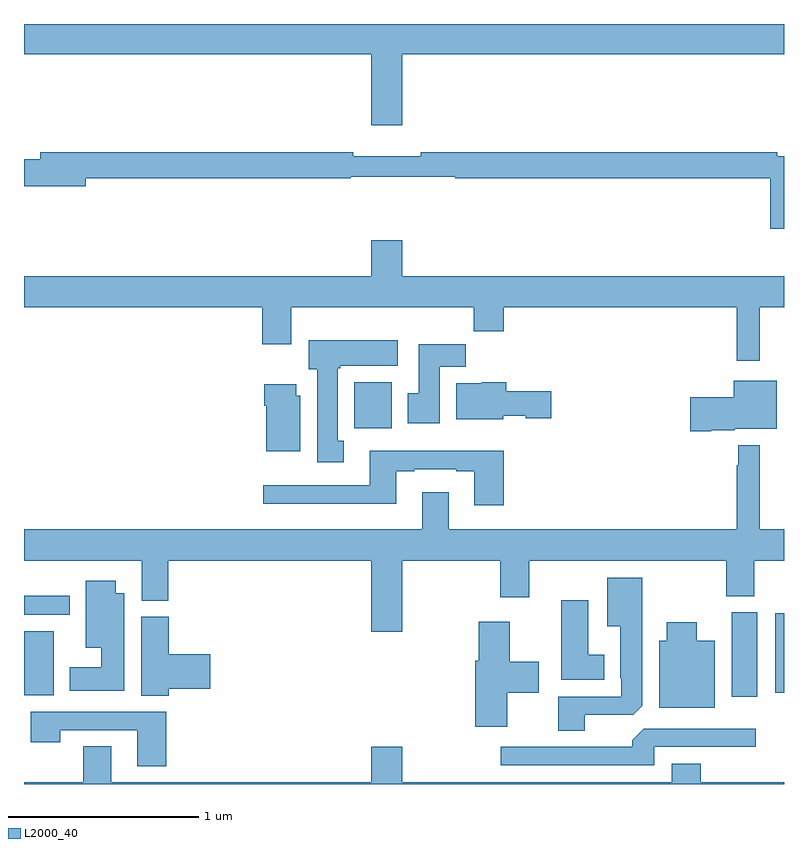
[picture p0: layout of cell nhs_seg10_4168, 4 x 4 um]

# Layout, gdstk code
import gdstk
lib = gdstk.Library(unit=1e-6, precision=1e-09)
def R(c, l, rs):  # rectangles x0, y0, x1, y1
    for r in rs: c.add(gdstk.rectangle(r[:2], r[2:], *l))
def P(c, l, *ps):  # polygons
    for p in ps: c.add(gdstk.Polygon(p, *l))
L2000_40 = (2000, 40)

nhs_seg10_4168 = lib.new_cell('nhs_seg10_4168')
R(nhs_seg10_4168, L2000_40, [(346.724,1272.96,346.858,1273.404), (343,1272.968,343.156,1273.303), (346.955,1272.98,347,1273.399), (343,1273.392,343.24,1273.49), (344.738,1274.372,344.935,1274.614)])
P(nhs_seg10_4168, L2000_40, [(344.992,1276.34),(347,1276.34),(347,1276.5),(343,1276.5),(343,1276.34),(344.828,1276.34),(344.828,1275.966),(344.992,1275.966)],
  [(347,1275.804),(346.964,1275.804),(346.964,1275.824),(345.088,1275.824),(345.088,1275.805),(344.732,1275.805),(344.732,1275.824),(343.085,1275.824),(343.085,1275.788),(343,1275.788),(343,1275.646),(343.324,1275.646),(343.324,1275.688),(344.72,1275.688),(344.72,1275.696),(345.269,1275.696),(345.269,1275.688),(346.928,1275.688),(346.928,1275.423),(347,1275.423)],
  [(346.873,1275.008),(347,1275.008),(347,1275.172),(344.992,1275.172),(344.992,1275.361),(344.828,1275.361),(344.828,1275.172),(343,1275.172),(343,1275.008),(344.255,1275.008),(344.255,1274.814),(344.407,1274.814),(344.407,1275.008),(345.367,1275.008),(345.367,1274.884),(345.524,1274.884),(345.524,1275.008),(346.752,1275.008),(346.752,1274.727),(346.873,1274.727)],
  [(344.683,1274.306),(344.65,1274.306),(344.65,1274.689),(344.664,1274.689),(344.664,1274.702),(344.968,1274.702),(344.968,1274.836),(344.498,1274.836),(344.498,1274.682),(344.543,1274.682),(344.543,1274.193),(344.683,1274.193)],
  [(345.187,1274.696),(345.326,1274.696),(345.326,1274.815),(345.077,1274.815),(345.077,1274.556),(345.02,1274.556),(345.02,1274.4),(345.187,1274.4)],
  [(346.618,1274.363),(346.74,1274.363),(346.74,1274.369),(346.963,1274.369),(346.963,1274.623),(346.736,1274.623),(346.736,1274.535),(346.506,1274.535),(346.506,1274.357),(346.618,1274.357)],
  [(345.522,1274.438),(345.642,1274.438),(345.642,1274.426),(345.775,1274.426),(345.775,1274.568),(345.539,1274.568),(345.539,1274.614),(345.408,1274.614),(345.408,1274.608),(345.275,1274.608),(345.275,1274.42),(345.522,1274.42)],
  [(344.455,1274.544),(344.434,1274.544),(344.434,1274.605),(344.264,1274.605),(344.264,1274.492),(344.276,1274.492),(344.276,1274.252),(344.455,1274.252)],
  [(344.992,1273.676),(345.506,1273.676),(345.506,1273.482),(345.658,1273.482),(345.658,1273.676),(346.696,1273.676),(346.696,1273.489),(346.843,1273.489),(346.843,1273.676),(347,1273.676),(347,1273.84),(346.873,1273.84),(346.873,1274.284),(346.759,1274.284),(346.759,1274.177),(346.752,1274.177),(346.752,1273.84),(345.235,1273.84),(345.235,1274.035),(345.095,1274.035),(345.095,1273.84),(343,1273.84),(343,1273.676),(343.619,1273.676),(343.619,1273.465),(343.76,1273.465),(343.76,1273.676),(344.828,1273.676),(344.828,1273.302),(344.992,1273.302)],
  [(345.524,1274.254),(344.819,1274.254),(344.819,1274.073),(344.259,1274.073),(344.259,1273.976),(344.959,1273.976),(344.959,1274.145),(345.055,1274.145),(345.055,1274.157),(345.275,1274.157),(345.275,1274.145),(345.371,1274.145),(345.371,1273.968),(345.524,1273.968)],
  [(345.952,1272.864),(346.206,1272.864),(346.255,1272.913),(346.255,1273.585),(346.07,1273.585),(346.07,1273.331),(346.139,1273.331),(346.139,1273.057),(346.143,1273.057),(346.143,1272.96),(345.812,1272.96),(345.812,1272.781),(345.952,1272.781)],
  [(343.528,1273.504),(343.483,1273.504),(343.483,1273.57),(343.325,1273.57),(343.325,1273.217),(343.406,1273.217),(343.406,1273.114),(343.241,1273.114),(343.241,1272.992),(343.528,1272.992)],
  [(346.054,1273.18),(345.97,1273.18),(345.97,1273.468),(345.827,1273.468),(345.827,1273.049),(346.054,1273.049)],
  [(343.763,1273.001),(343.981,1273.001),(343.981,1273.184),(343.763,1273.184),(343.763,1273.38),(343.616,1273.38),(343.616,1272.964),(343.763,1272.964)],
  [(345.544,1272.98),(345.709,1272.98),(345.709,1273.143),(345.556,1273.143),(345.556,1273.354),(345.394,1273.354),(345.394,1273.149),(345.374,1273.149),(345.374,1272.801),(345.544,1272.801)],
  [(346.636,1273.255),(346.54,1273.255),(346.54,1273.351),(346.382,1273.351),(346.382,1273.255),(346.343,1273.255),(346.343,1272.902),(346.636,1272.902)],
  [(343.748,1272.879),(343.035,1272.879),(343.035,1272.72),(343.191,1272.72),(343.191,1272.783),(343.595,1272.783),(343.595,1272.594),(343.748,1272.594)],
  [(346.317,1272.696),(346.852,1272.696),(346.852,1272.792),(346.263,1272.792),(346.202,1272.73),(346.202,1272.696),(345.51,1272.696),(345.51,1272.6),(346.317,1272.6)],
  [(347,1272.508),(346.562,1272.508),(346.562,1272.607),(346.409,1272.607),(346.409,1272.508),(344.992,1272.508),(344.992,1272.697),(344.828,1272.697),(344.828,1272.508),(343.459,1272.508),(343.459,1272.698),(343.312,1272.698),(343.312,1272.508),(343,1272.508),(343,1272.5),(347,1272.5)])

lib.write_gds('nhs_seg10_4168.gds')
